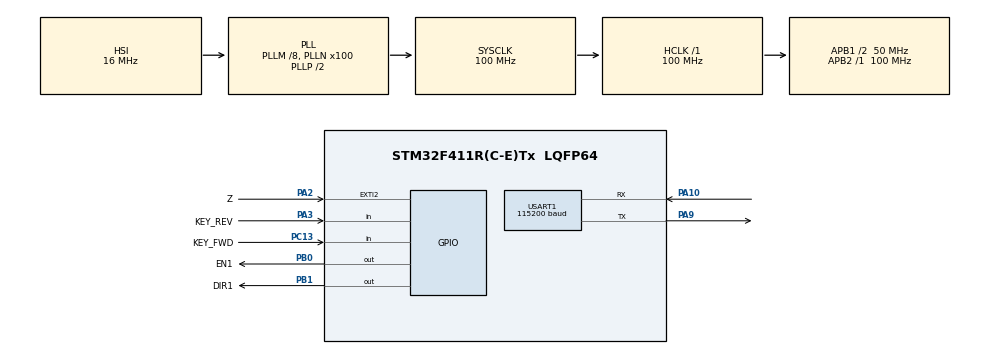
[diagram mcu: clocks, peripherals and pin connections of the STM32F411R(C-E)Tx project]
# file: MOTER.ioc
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Mcu.Family=STM32F4
Mcu.Name=STM32F411R(C-E)Tx
Mcu.Package=LQFP64
NVIC.EXTI2_IRQn=true\:5\:0\:false\:false\:true\:true\:false\:true
NVIC.PriorityGroup=NVIC_PRIORITYGROUP_4
NVIC.TIM1_UP_TIM10_IRQn=true\:1\:0\:false\:false\:true\:true\:false\:true
PA0-WKUP.Signal=TIM2_CH1
PA1.Signal=TIM2_CH2
PA10.Mode=Asynchronous
PA10.Signal=USART1_RX
PA2.GPIO_Label=Z
PA2.GPIO_PuPd=GPIO_PULLUP
PA2.Signal=GPIO_EXTI2
PA3.GPIO_Label=KEY_REV
PA3.GPIO_PuPd=GPIO_PULLUP
PA3.Signal=GPIO_Input
PA8.Signal=TIM1_CH1
PA9.Mode=Asynchronous
PA9.Signal=USART1_TX
PB0.GPIO_Label=EN1
PB0.GPIO_PuPd=GPIO_NOPULL
PB0.PinState=GPIO_PIN_SET
PB0.Signal=GPIO_Output
PB1.GPIO_Label=DIR1
PB1.GPIO_PuPd=GPIO_NOPULL
PB1.PinState=GPIO_PIN_RESET
PB1.Signal=GPIO_Output
PB6.Signal=TIM4_CH1
PC13.GPIO_Label=KEY_FWD
PC13.GPIO_PuPd=GPIO_PULLUP
PC13.Signal=GPIO_Input
ProjectManager.HeapSize=0x200
ProjectManager.StackSize=0x400
ProjectManager.TargetToolchain=MDK-ARM V5.32
RCC.48MHZClocksFreq_Value=50000000
RCC.AHBFreq_Value=100000000
RCC.APB1CLKDivider=RCC_HCLK_DIV2
RCC.APB1Freq_Value=50000000
RCC.APB1TimFreq_Value=100000000
RCC.APB2Freq_Value=100000000
RCC.APB2TimFreq_Value=100000000
RCC.CortexFreq_Value=100000000
RCC.HCLKFreq_Value=100000000
RCC.HSE_VALUE=25000000
RCC.HSI_VALUE=16000000
RCC.LSE_VALUE=32768
RCC.PLLM=8
RCC.PLLN=100
RCC.SYSCLKFreq_VALUE=100000000
RCC.SYSCLKSource=RCC_SYSCLKSOURCE_PLLCLK
RCC.VCOOutputFreq_Value=200000000
TIM1.AutoReloadPreload=TIM_AUTORELOAD_PRELOAD_ENABLE
TIM1.Channel-PWM\ Generation1\ CH1=TIM_CHANNEL_1
TIM1.Period=999
TIM1.Prescaler=99
TIM1.Pulse-PWM\ Generation1\ CH1=10
TIM2.EncoderMode=TIM_ENCODERMODE_TI12
TIM2.IC1Filter=10
TIM2.IC2Filter=10
TIM2.Period=4294967295
TIM4.AutoReloadPreload=TIM_AUTORELOAD_PRELOAD_ENABLE
TIM4.Channel-PWM\ Generation1\ CH1=TIM_CHANNEL_1
TIM4.Period=99
TIM4.Prescaler=99
TIM4.Pulse-PWM\ Generation1\ CH1=0
USART1.BaudRate=115200
USART1.VirtualMode-Asynchronous=VM_ASYNC
board=custom

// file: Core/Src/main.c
/* USER CODE BEGIN Header */
/**
  ******************************************************************************
  * @file           : main.c
  * @brief          : Main program body
  ******************************************************************************
  * @attention
  *
  * Copyright (c) 2026 STMicroelectronics.
  * All rights reserved.
  *
  * This software is licensed under terms that can be found in the LICENSE file
  * in the root directory of this software component.
  * If no LICENSE file comes with this software, it is provided AS-IS.
  *
  ******************************************************************************
  */
/* USER CODE END Header */
#include "main.h"

/* USER CODE BEGIN Includes */
#include <stdio.h>
#include <stdlib.h>
#include <string.h>
#include <stdarg.h>
#include "stepper.h"
#include "key.h"
#include "ball_ctrl.h"
#include "selftest.h"          /* 开环参数辨识（BALL_SELFTEST_ENABLE=0 时为空） */
/* 编码器已退役（PA0 让给 KEY1），不再 include/调用 encoder 模块 */
/* USER CODE END Includes */

TIM_HandleTypeDef htim1;
TIM_HandleTypeDef htim2;
TIM_HandleTypeDef htim4;

UART_HandleTypeDef huart1;

/* USER CODE BEGIN PV */
#define USE_DEBUG_UART   1     /* 不用串口就改成 0 */
#define USE_DEBUG_UART6  1     /* 板载调试口在 PC6/PC7(USART6) 时置 1 */

/* 第二路调试串口：实际板子的调试口接在 PC6/PC7（USART6，AF8），
 * 而 USART1 的 PA9/PA10 是与 MaixCam + 车主控的协议链路。
 *
 * 调试口既发日志也收命令：收到的字节注入 ball_ctrl 的解析环形缓冲，
 * 这样台架调试时直接从这个口发 M/Z/R 命令即可，不用挪线到 PA10。 */
UART_HandleTypeDef huart6;
uint8_t            dbg_rx_byte;   /* USART6 单字节中断接收缓冲 */

/* ==================== H题 要求4：行驶稳球任务 ====================
 * 小车置于 A 点、钢球置于中心 O，按键启动后沿黑线顺时针行驶通过 B
 * （AB 时间 <= 8s 由车主控负责），行驶全程摆杆把球稳定在中心 O，
 * 误差绝对值 <= 1cm（本工程负责摆杆这一半）。
 *
 * 控制方案（移植自 MSPM0 成熟参考工程 ball_balance）：滑模 PD
 *   + 回零偏学习 + 静摩擦脱困脉冲 + 车体加速度前馈，
 *   丢球保持 600ms 后限速回平（不退出任务，球回视野自动继续）
 *   W1 减速告警 / W2 回平停车告警
 *
 *  唯一按键 PA0：短按 = 启动稳球闭环；运行中长按 1 秒 = 停止回平
 *  USART1 RX   收视觉模块 B 帧（球位置/速度/置信度）和车主控 A 帧
 *  USART1 TX   调试打印 + 给车主控的 W 告警帧（可选监听）
 */
typedef enum {
    MISSION_IDLE = 0,       /* 等待按键启动，摆杆保持在水平零位 */
    MISSION_RUN           /* 要求4进行中：稳球闭环工作 */
} mission_t;

static mission_t s_mission = MISSION_IDLE;

static uint32_t s_last_tick = 0;    /* 1ms 任务节拍（按键扫描 + 电机斜坡） */
static uint32_t s_last_ctrl = 0;    /* 10ms 任务节拍（稳球控制律 + 帧解析） */
static uint32_t s_last_log  = 0;    /* 500ms 遥测节拍 */

/* 唯一按键 PA0 的按下/松开计时（长按判定用） */
static uint32_t s_key_down_tick = 0;
static uint8_t  s_key_holding   = 0;

static uint32_t s_last_hb = 0;      /* 1s 待机心跳节拍 */

/* 按键确认"点头"：短按启动前摆杆抬 3° 再回平，肉眼可见 = 按键/使能/脉冲链路全通。
 * 没接 MaixCam 时闭环本身不推动摆杆（无球数据只保持水平），
 * 如果没有这个动作，台架上"按了没反应"其实可能就是正常现象——用它一按便知。 */
typedef enum {
    ACK_NONE = 0,       /* 无动作 */
    ACK_UP,             /* 抬起 3° 进行中 */
    ACK_BACK            /* 回平进行中 */
} ack_state_t;
static ack_state_t s_ack = ACK_NONE;
static uint8_t     s_start_after_ack = 0;   /* 点头完成后要启动稳球闭环 */

/* 上电自检：上电 1 秒后摆杆自动点头一次（不需要按键），用来把
 * "脉冲链路不通"和"按键信号没进来"两种故障区分开——保持力矩只证明
 * 使能有效，不证明 STEP 脉冲有效，必须亲眼看摆杆动一次才算数。 */
static uint32_t s_boot_tick     = 0;        /* 自检点头的时间基准 */
static uint8_t  s_boot_nod_done = 0;        /* 自检只做一次 */
static int32_t  s_ack_steps     = 0;        /* 当前点头步数：启动确认 3°，运行/退出示意 2° */
static uint8_t  s_exit_nod_req  = 0;        /* 任务退出（超时/长按）后要点头示意一次 */
/* USER CODE END PV */

void SystemClock_Config(void);
static void MX_GPIO_Init(void);
static void MX_TIM1_Init(void);
static void MX_TIM2_Init(void);
static void MX_TIM4_Init(void);
static void MX_USART1_UART_Init(void);

/* USER CODE BEGIN PFP */
static void dbg_printf(const char *fmt, ...);

/* 定点数格式化：把 x10 或 mdeg 拆成「符号 + 整数 + 小数」。
 * 旧写法 `(long)(v / 10), (long)labs(v % 10)` 在 |v| < 10 时
 * 整数部分取整为 0，符号就丢了（x=-0.5 会打印成 "+0.5"，
 * cmd=-0.333 会打印成 "+0.333"），调试时会被彻底误导。 */
static void fmt_x10(char *out, size_t n, int32_t v)
{
    int32_t neg = (v < 0) ? 1 : 0;
    int32_t a   = neg ? -v : v;
    (void)snprintf(out, n, "%s%ld.%01ld", neg ? "-" : "+",
                   (long)(a / 10), (long)(a % 10));
}

static void fmt_mdeg(char *out, size_t n, int32_t v)
{
    int32_t neg = (v < 0) ? 1 : 0;
    int32_t a   = neg ? -v : v;
    (void)snprintf(out, n, "%s%ld.%03ld", neg ? "-" : "+",
                   (long)(a / 1000), (long)(a % 1000));
}
/* USER CODE END PFP */

/* USER CODE BEGIN 0 */
static void dbg_printf(const char *fmt, ...)
{
#if USE_DEBUG_UART
    char    buf[160];
    int     n;
    va_list ap;

    va_start(ap, fmt);
    n = vsnprintf(buf, sizeof(buf), fmt, ap);
    va_end(ap);

    if (n > 0) {
        if (n > (int)sizeof(buf) - 1) n = (int)sizeof(buf) - 1;
#if USE_DEBUG_UART6
        /* 调试日志只走 PC6/PC7（USART6）。
         * PA9/PA10 是与 MaixCam + 主控的协议链路，绝不能混入 ASCII 调试文本，
         * 否则会污染 12 字节二进制帧。协议帧（W1/W0/W2）由 ball_ctrl 单独发。 */
        HAL_UART_Transmit(&huart6, (uint8_t *)buf, (uint16_t)n, 100);
#else
        HAL_UART_Transmit(&huart1, (uint8_t *)buf, (uint16_t)n, 100);
#endif
    }
#else
    (void)fmt;
#endif
}

#if USE_DEBUG_UART6
/* 板载调试口在 PC6/PC7 = USART6_TX/RX（AF8）。
 * 手动配 GPIO+时钟，再交给 HAL_UART_Init；MspInit 是弱函数，为空即可。 */
static void dbg_uart6_init(void)
{
    GPIO_InitTypeDef gpio = {0};

    __HAL_RCC_GPIOC_CLK_ENABLE();
    __HAL_RCC_USART6_CLK_ENABLE();

    gpio.Pin       = GPIO_PIN_6 | GPIO_PIN_7;
    gpio.Mode      = GPIO_MODE_AF_PP;
    gpio.Pull      = GPIO_PULLUP;
    gpio.Speed     = GPIO_SPEED_FREQ_VERY_HIGH;
    gpio.Alternate = GPIO_AF8_USART6;
    HAL_GPIO_Init(GPIOC, &gpio);

    huart6.Instance          = USART6;
    huart6.Init.BaudRate     = 115200;
    huart6.Init.WordLength   = UART_WORDLENGTH_8B;
    huart6.Init.StopBits     = UART_STOPBITS_1;
    huart6.Init.Parity       = UART_PARITY_NONE;
    huart6.Init.Mode         = UART_MODE_TX_RX;
    huart6.Init.HwFlowCtl    = UART_HWCONTROL_NONE;
    huart6.Init.OverSampling = UART_OVERSAMPLING_16;
    (void)HAL_UART_Init(&huart6);

    /* 与 USART1 同优先级，开启接收中断，才能从调试口发命令 */
    HAL_NVIC_SetPriority(USART6_IRQn, 4, 0);
    HAL_NVIC_EnableIRQ(USART6_IRQn);
    (void)HAL_UART_Receive_IT(&huart6, &dbg_rx_byte, 1U);
}
#endif
/* USER CODE END 0 */

int main(void)
{

  /* MCU Configuration--------------------------------------------------------*/

  /* Reset of all peripherals, Initializes the Flash interface and the Systick. */
  HAL_Init();

  /* Configure the system clock */
  SystemClock_Config();

  /* Initialize all configured peripherals */
  MX_GPIO_Init();
  MX_TIM1_Init();
  MX_TIM2_Init();
  MX_TIM4_Init();
  MX_USART1_UART_Init();

  /* USER CODE BEGIN 2 */
#if USE_DEBUG_UART6
  dbg_uart6_init();                     /* 调试口 PC6/PC7，必须最先初始化 */
#endif
  stepper_init();
  key_init();
  ball_ctrl_init();                     /* 含挂起 USART1 接收（摄像头/车主控数据） */

  /* KEY1 已从 PC13 挪到 PA0（原编码器 A 相）。
   * MX_TIM2_Init 的编码器 MspInit 会把 PA0/PA1 配成 TIM2 复用，
   * 这里在所有 MX 初始化之后把 PA0 改回"输入上拉"按键，保证按键可靠；
   * TIM2 编码器不再 Start（encoder_init 已移除），计数器闲置无影响。 */
  {
      GPIO_InitTypeDef key_gpio = {0};
      key_gpio.Pin  = KEY_FWD_Pin;
      key_gpio.Mode = GPIO_MODE_INPUT;
      key_gpio.Pull = GPIO_PULLUP;
      key_gpio.Speed = GPIO_SPEED_FREQ_LOW;
      HAL_GPIO_Init(KEY_FWD_GPIO_Port, &key_gpio);
  }

  /* USART1 接收中断：视觉模块 B 帧 / 车主控 A 帧从这里进来 */
  HAL_NVIC_SetPriority(USART1_IRQn, 4, 0);
  HAL_NVIC_EnableIRQ(USART1_IRQn);

  stepper_set_run_speed(STEPPER_SERVO_SPEED);   /* 稳球微动速度 */
  stepper_enable(1);                    /* 使能驱动器，电机上电保持力矩 */

  dbg_printf("\r\n============================================\r\n");
  dbg_printf("[STEPPER] MOTER / STM32F411RET6 ready\r\n");
  dbg_printf("[TASK ] H题 要求4：滑模PD+前馈 行驶稳球（误差<=1cm）\r\n");
  dbg_printf("[KEY  ] PA0 唯一按键：短按 = 启动（先点头3°确认）\r\n");
  dbg_printf("        运行中短按 = 点头2°示意在跑 | 长按1秒 = 停止回平\r\n");
  dbg_printf("        任务结束（超时/停止）后自动小点头示意\r\n");
  dbg_printf("[UART1] 115200 8N1  RX = MaixCam 二进制帧(0xAA55,12B,CRC16)\r\n");
  dbg_printf("        接线: MaixCam A19(TX) -> PA10(RX)；帧含 0.1mm位置/\r\n");
  dbg_printf("        mm/s速度/置信度/标志位，50Hz 恒发\r\n");
  dbg_printf("        车主控 A,<mm/s2> 帧共线（串1k电阻）或台架单用\r\n");
  dbg_printf("        M,<mdeg>手动摆角 Z,水平清零 R,<x0.1mm>球目标(要求6)\r\n");
  dbg_printf("        TX告警帧: W1丢球减速 W0恢复 W2超时停车\r\n");
  dbg_printf("[TIP  ] 上电前先目视调平摆杆：上电位置=水平零位\r\n");
  dbg_printf("        也可运行中发 Z 重新定义零位\r\n");
  dbg_printf("[TEST ] 上电1秒摆杆自动点头 = 脉冲链路自检\r\n");
  dbg_printf("        再短按PA0有第二次点头 = 按键也正常\r\n");
  dbg_printf("============================================\r\n");

  s_last_tick = HAL_GetTick();
  s_last_ctrl = s_last_tick;
  s_last_log  = s_last_tick;
  s_boot_tick = s_last_tick;

  /* 自检放在横幅之后：横幅出来了说明固件已跑起来，
   * 再看下面有没有 SELFTEST START，就能区分「固件没跑」和「自检起不来」 */
#if BALL_SELFTEST_ENABLE
  selftest_init();                      /* 开环参数辨识：上电自动跑三段实验 */
#endif
  /* USER CODE END 2 */

  /* Infinite loop */
  /* USER CODE BEGIN WHILE */
  while (1)
  {
    uint32_t now = HAL_GetTick();

    /* ---------------- 1ms 任务：按键扫描 + 电机速度斜坡 ---------------- */
    if ((uint32_t)(now - s_last_tick) >= 1U) {
        s_last_tick = now;
        key_scan();
        stepper_tick_1ms();

#if BALL_SELFTEST_ENABLE
        selftest_poll();              /* 开环参数辨识状态机（非阻塞） */
#endif

        /* 按键点头状态机：抬起到位 -> 回平 -> （按按键意图）启动闭环 */
        if (s_ack == ACK_UP && !stepper_is_busy()) {
            s_ack = ACK_BACK;
            stepper_servo_update(stepper_position() - s_ack_steps);
        } else if (s_ack == ACK_BACK && !stepper_is_busy()) {
            s_ack = ACK_NONE;
            stepper_set_run_speed(STEPPER_SERVO_SPEED);     /* 恢复稳球微动速度 */
            if (s_start_after_ack) {
                s_start_after_ack = 0;
                ball_ctrl_start();      /* 记录水平零位、清控制状态、开启闭环 */
                s_mission = MISSION_RUN;
                dbg_printf("[MISSION] 要求4 启动：稳球闭环开启\r\n");
                if (ball_ctrl_frame_count() == 0) {
                    dbg_printf("[MISSION] 提示：尚未收到 MaixCam 帧(fr=0)，"
                               "摆杆先保持水平，球回视野自动开始稳球\r\n");
                }
            }
        }

        /* 上电自检点头：1 秒后自动点一下，不按键也能验证"使能+脉冲链路"。
         * 必须放在点头状态机之后：刚排队动作时 busy 仍为 0（脉冲要到下一
         * tick 才起步），放前面会被同一 tick 误判成"抬到位"直接翻到回平。 */
        if (!s_boot_nod_done && s_mission == MISSION_IDLE && s_ack == ACK_NONE &&
            (uint32_t)(now - s_boot_tick) >= 1000U && !stepper_is_busy()) {
            s_boot_nod_done = 1;
            s_ack_steps = STEPPER_ACK_STEPS;
            s_ack = ACK_UP;             /* s_start_after_ack 保持 0：点完头不启动 */
            stepper_set_run_speed(STEPPER_ACK_SPS);
            stepper_servo_update(stepper_position() + s_ack_steps);
            dbg_printf("[SELFTEST] 摆杆点头自检：能动 = 使能+脉冲链路正常\r\n");
        }

        /* 任务退出示意：长按停止 之后小点头一次，
         * 让"运行中 -> 空闲"的状态切换肉眼可见（stop_level 的回平动作走完才触发）
         * （丢球不再退出任务，只回平待球，所以点头只在手动停止时出现） */
        if (s_exit_nod_req && s_mission == MISSION_IDLE && s_ack == ACK_NONE &&
            !stepper_is_busy()) {
            s_exit_nod_req = 0;
            s_ack_steps = STEPPER_ACK_RUN_STEPS;
            s_ack = ACK_UP;             /* s_start_after_ack 保持 0 */
            stepper_set_run_speed(STEPPER_ACK_SPS);
            stepper_servo_update(stepper_position() + s_ack_steps);
            dbg_printf("[MISSION] 已退出任务（点头示意，短按可重新启动）\r\n");
        }
    }

    /* ---------------- 10ms 任务：要求4 稳球控制律 ---------------- */
    if ((uint32_t)(now - s_last_ctrl) >= 10U) {
        s_last_ctrl = now;
        ball_ctrl_uart_poll();      /* 解析 B/A/M/Z 帧 */
        ball_ctrl_tick_10ms();      /* 滑模PD + 偏置/脉冲/前馈 -> 步进伺服微动 */
    }

    /* ---------------- 故障转移（保留）：参考设计丢球不退出任务，
     * ball_ctrl_fault() 恒 0，此块正常不会触发，留作兜底 ---------- */
    if (s_mission == MISSION_RUN && ball_ctrl_fault()) {
        s_mission = MISSION_IDLE;
        s_exit_nod_req = 1;             /* 回平完成后点头示意"已退出" */
        dbg_printf("[MISSION] 丢球超时：已回平退出任务（W2 已发，建议车主控停车）\r\n");
    }

    /* ---------------- 按键任务：PA0 短按启动 / 长按1秒停止 ---------------- */
    if (key1_clicked()) {                          /* 按下瞬间：记录起点 */
        s_key_down_tick = now;
        s_key_holding   = 1;
    }
    if (s_key_holding && key1_released()) {        /* 松手：按住时长判定意图 */
        uint32_t held = now - s_key_down_tick;

        s_key_holding = 0;

        if (s_mission == MISSION_IDLE) {
            /* 空闲：短按/长按都 = 先点头确认，再启动闭环 */
            if (stepper_is_busy() || s_ack != ACK_NONE) {
                dbg_printf("[MISSION] 电机未停稳，稍后再按\r\n");
            } else {
                s_start_after_ack = 1;
                s_ack_steps = STEPPER_ACK_STEPS;
                s_ack = ACK_UP;
                stepper_set_run_speed(STEPPER_ACK_SPS);
                stepper_servo_update(stepper_position() + s_ack_steps);
                dbg_printf("[MISSION] 按键确认：摆杆点头...\r\n");
            }
        } else if (held >= KEY_LONG_MS) {
            /* 运行中长按：停止回平（短按只示意，防比赛误触停机） */
            ball_ctrl_stop_level();
            s_mission = MISSION_IDLE;
            s_exit_nod_req = 1;         /* 回平完成后点头示意"已退出" */
            dbg_printf("[MISSION] 停止：摆杆回平\r\n");
        } else if (s_ack == ACK_NONE && !stepper_is_busy()) {
            /* 运行中短按：点头 2° 示意"任务在跑"——没有它，运行态和空闲态
             * 肉眼无法区分，会被当成"按了没反应"（比赛时不要按，会轻微扰动球） */
            s_ack_steps = STEPPER_ACK_RUN_STEPS;
            s_ack = ACK_UP;             /* s_start_after_ack 保持 0 */
            stepper_set_run_speed(STEPPER_ACK_SPS);
            stepper_servo_update(stepper_position() + s_ack_steps);
            dbg_printf("[MISSION] 运行中：点头示意（长按1秒停止）\r\n");
        } else {
            dbg_printf("[MISSION] 运行中：长按1秒停止\r\n");
        }
    }

    /* ---------------- 500ms 遥测（运行时打印控制各项，方便现场整定） ------- */
    if ((uint32_t)(now - s_last_log) >= 500U) {
        s_last_log = now;

        if (s_mission == MISSION_RUN) {
            int32_t b  = ball_ctrl_ball_01mm();
            int32_t v  = ball_ctrl_vel_mms();
            int32_t rf = ball_ctrl_xref_01mm();
            int32_t t  = ball_ctrl_angle_mdeg();
            int32_t fb = ball_ctrl_fb_mdeg();
            int32_t ff = ball_ctrl_ff_mdeg();
            int32_t a  = ball_ctrl_accel();
            uint8_t c  = ball_ctrl_conf();
            char sx[16], sref[16], scmd[16];

            fmt_x10(sx, sizeof(sx), b);
            fmt_x10(sref, sizeof(sref), rf);
            fmt_mdeg(scmd, sizeof(scmd), t);

            dbg_printf("[RUN] x=%s v=%+ldmm/s c=%d ref=%s | "
                       "fb=%+ld ff=%+ld cmd=%sdeg acc=%+ld "
                       "sat=%d ok=%d cal=%d fr=%lu ce=%lu pos=%ld\r\n",
                       sx,
                       (long)v, (int)c,
                       sref,
                       (long)fb, (long)ff,
                       scmd,
                       (long)a,
                       (int)ball_ctrl_sat(),
                       (int)ball_ctrl_ball_ok(),
                       (int)ball_ctrl_vision_cal(),
                       (unsigned long)ball_ctrl_frame_count(),
                       (unsigned long)ball_ctrl_crc_err(),
                       (long)stepper_position());
        }
    }

    /* ---------------- 1s 待机心跳（排查"没力矩/按键没反应"用） ------------- */
    /* en_pin  : PB0 实际电平，1=固件已使能驱动器（若仍无力矩查驱动器侧）
     * key_raw : PA0 原始电平，1=未按(上拉高) 0=按下接地 —— 按键不动它说明接法有问题
     * key     : 消抖后的按键状态；fr/ce : 视觉帧计数（接了 MaixCam 才会涨）   */
    if ((uint32_t)(now - s_last_hb) >= 1000U) {
        s_last_hb = now;

        if (s_mission == MISSION_IDLE) {
            dbg_printf("[IDLE] en_pin=%d key_raw=%d key=%d busy=%d fr=%lu ce=%lu\r\n",
                       (int)HAL_GPIO_ReadPin(EN1_GPIO_Port, EN1_Pin),
                       (int)HAL_GPIO_ReadPin(KEY_FWD_GPIO_Port, KEY_FWD_Pin),
                       (int)key1_pressed(),
                       (int)stepper_is_busy(),
                       (unsigned long)ball_ctrl_frame_count(),
                       (unsigned long)ball_ctrl_crc_err());
        }
    }
    /* USER CODE END WHILE */

  }
}

void SystemClock_Config(void)
{
  RCC_OscInitTypeDef RCC_OscInitStruct = {0};
  RCC_ClkInitTypeDef RCC_ClkInitStruct = {0};

  /** Configure the main internal regulator output voltage
  */
  __HAL_RCC_PWR_CLK_ENABLE();
  __HAL_PWR_VOLTAGESCALING_CONFIG(PWR_REGULATOR_VOLTAGE_SCALE1);

  /** Initializes the RCC Oscillators according to the specified parameters
  * in the RCC_OscInitTypeDef structure.
  */
  RCC_OscInitStruct.OscillatorType = RCC_OSCILLATORTYPE_HSI;
  RCC_OscInitStruct.HSIState = RCC_HSI_ON;
  RCC_OscInitStruct.HSICalibrationValue = RCC_HSICALIBRATION_DEFAULT;
  RCC_OscInitStruct.PLL.PLLState = RCC_PLL_ON;
  RCC_OscInitStruct.PLL.PLLSource = RCC_PLLSOURCE_HSI;
  RCC_OscInitStruct.PLL.PLLM = 8;
  RCC_OscInitStruct.PLL.PLLN = 100;
  RCC_OscInitStruct.PLL.PLLP = RCC_PLLP_DIV2;
  RCC_OscInitStruct.PLL.PLLQ = 4;
  if (HAL_RCC_OscConfig(&RCC_OscInitStruct) != HAL_OK)
  {
    Error_Handler();
  }

  /** Initializes the CPU, AHB and APB buses clocks
  */
  RCC_ClkInitStruct.ClockType = RCC_CLOCKTYPE_HCLK|RCC_CLOCKTYPE_SYSCLK
                              |RCC_CLOCKTYPE_PCLK1|RCC_CLOCKTYPE_PCLK2;
  RCC_ClkInitStruct.SYSCLKSource = RCC_SYSCLKSOURCE_PLLCLK;
  RCC_ClkInitStruct.AHBCLKDivider = RCC_SYSCLK_DIV1;
  RCC_ClkInitStruct.APB1CLKDivider = RCC_HCLK_DIV2;
  RCC_ClkInitStruct.APB2CLKDivider = RCC_HCLK_DIV1;

  if (HAL_RCC_ClockConfig(&RCC_ClkInitStruct, FLASH_LATENCY_3) != HAL_OK)
  {
    Error_Handler();
  }
}

static void MX_TIM1_Init(void)
{

  TIM_ClockConfigTypeDef sClockSourceConfig = {0};
  TIM_MasterConfigTypeDef sMasterConfig = {0};
  TIM_OC_InitTypeDef sConfigOC = {0};
  TIM_BreakDeadTimeConfigTypeDef sBreakDeadTimeConfig = {0};

  htim1.Instance = TIM1;
  htim1.Init.Prescaler = 99;
  htim1.Init.CounterMode = TIM_COUNTERMODE_UP;
  htim1.Init.Period = 999;
  htim1.Init.ClockDivision = TIM_CLOCKDIVISION_DIV1;
  htim1.Init.RepetitionCounter = 0;
  htim1.Init.AutoReloadPreload = TIM_AUTORELOAD_PRELOAD_ENABLE;
  if (HAL_TIM_Base_Init(&htim1) != HAL_OK)
  {
    Error_Handler();
  }
  sClockSourceConfig.ClockSource = TIM_CLOCKSOURCE_INTERNAL;
  if (HAL_TIM_ConfigClockSource(&htim1, &sClockSourceConfig) != HAL_OK)
  {
    Error_Handler();
  }
  if (HAL_TIM_PWM_Init(&htim1) != HAL_OK)
  {
    Error_Handler();
  }
  sMasterConfig.MasterOutputTrigger = TIM_TRGO_RESET;
  sMasterConfig.MasterSlaveMode = TIM_MASTERSLAVEMODE_DISABLE;
  if (HAL_TIMEx_MasterConfigSynchronization(&htim1, &sMasterConfig) != HAL_OK)
  {
    Error_Handler();
  }
  sConfigOC.OCMode = TIM_OCMODE_PWM1;
  sConfigOC.Pulse = 10;
  sConfigOC.OCPolarity = TIM_OCPOLARITY_HIGH;
  sConfigOC.OCNPolarity = TIM_OCNPOLARITY_HIGH;
  sConfigOC.OCFastMode = TIM_OCFAST_DISABLE;
  sConfigOC.OCIdleState = TIM_OCIDLESTATE_RESET;
  sConfigOC.OCNIdleState = TIM_OCNIDLESTATE_RESET;
  if (HAL_TIM_PWM_ConfigChannel(&htim1, &sConfigOC, TIM_CHANNEL_1) != HAL_OK)
  {
    Error_Handler();
  }
  sBreakDeadTimeConfig.OffStateRunMode = TIM_OSSR_DISABLE;
  sBreakDeadTimeConfig.OffStateIDLEMode = TIM_OSSI_DISABLE;
  sBreakDeadTimeConfig.LockLevel = TIM_LOCKLEVEL_OFF;
  sBreakDeadTimeConfig.DeadTime = 0;
  sBreakDeadTimeConfig.BreakState = TIM_BREAK_DISABLE;
  sBreakDeadTimeConfig.BreakPolarity = TIM_BREAKPOLARITY_HIGH;
  sBreakDeadTimeConfig.BreakFilter = 0;
  sBreakDeadTimeConfig.AutomaticOutput = TIM_AUTOMATICOUTPUT_DISABLE;
  if (HAL_TIMEx_ConfigBreakDeadTime(&htim1, &sBreakDeadTimeConfig) != HAL_OK)
  {
    Error_Handler();
  }

}

static void MX_TIM2_Init(void)
{

  TIM_Encoder_InitTypeDef sConfig = {0};
  TIM_MasterConfigTypeDef sMasterConfig = {0};

  htim2.Instance = TIM2;
  htim2.Init.Prescaler = 0;
  htim2.Init.CounterMode = TIM_COUNTERMODE_UP;
  htim2.Init.Period = 4294967295;
  htim2.Init.ClockDivision = TIM_CLOCKDIVISION_DIV1;
  htim2.Init.AutoReloadPreload = TIM_AUTORELOAD_PRELOAD_DISABLE;
  sConfig.EncoderMode = TIM_ENCODERMODE_TI12;
  sConfig.IC1Polarity = TIM_ICPOLARITY_RISING;
  sConfig.IC1Selection = TIM_ICSELECTION_DIRECTTI;
  sConfig.IC1Prescaler = TIM_ICPSC_DIV1;
  sConfig.IC1Filter = 10;
  sConfig.IC2Polarity = TIM_ICPOLARITY_RISING;
  sConfig.IC2Selection = TIM_ICSELECTION_DIRECTTI;
  sConfig.IC2Prescaler = TIM_ICPSC_DIV1;
  sConfig.IC2Filter = 10;
  if (HAL_TIM_Encoder_Init(&htim2, &sConfig) != HAL_OK)
  {
    Error_Handler();
  }
  sMasterConfig.MasterOutputTrigger = TIM_TRGO_RESET;
  sMasterConfig.MasterSlaveMode = TIM_MASTERSLAVEMODE_DISABLE;
  if (HAL_TIMEx_MasterConfigSynchronization(&htim2, &sMasterConfig) != HAL_OK)
  {
    Error_Handler();
  }

}

static void MX_TIM4_Init(void)
{

  TIM_ClockConfigTypeDef sClockSourceConfig = {0};
  TIM_MasterConfigTypeDef sMasterConfig = {0};
  TIM_OC_InitTypeDef sConfigOC = {0};

  htim4.Instance = TIM4;
  htim4.Init.Prescaler = 99;
  htim4.Init.CounterMode = TIM_COUNTERMODE_UP;
  htim4.Init.Period = 99;
  htim4.Init.ClockDivision = TIM_CLOCKDIVISION_DIV1;
  htim4.Init.AutoReloadPreload = TIM_AUTORELOAD_PRELOAD_ENABLE;
  if (HAL_TIM_Base_Init(&htim4) != HAL_OK)
  {
    Error_Handler();
  }
  sClockSourceConfig.ClockSource = TIM_CLOCKSOURCE_INTERNAL;
  if (HAL_TIM_ConfigClockSource(&htim4, &sClockSourceConfig) != HAL_OK)
  {
    Error_Handler();
  }
  if (HAL_TIM_PWM_Init(&htim4) != HAL_OK)
  {
    Error_Handler();
  }
  sMasterConfig.MasterOutputTrigger = TIM_TRGO_RESET;
  sMasterConfig.MasterSlaveMode = TIM_MASTERSLAVEMODE_DISABLE;
  if (HAL_TIMEx_MasterConfigSynchronization(&htim4, &sMasterConfig) != HAL_OK)
  {
    Error_Handler();
  }
  sConfigOC.OCMode = TIM_OCMODE_PWM1;
  sConfigOC.Pulse = 0;
  sConfigOC.OCPolarity = TIM_OCPOLARITY_HIGH;
  sConfigOC.OCFastMode = TIM_OCFAST_DISABLE;
  if (HAL_TIM_PWM_ConfigChannel(&htim4, &sConfigOC, TIM_CHANNEL_1) != HAL_OK)
  {
    Error_Handler();
  }

}

static void MX_USART1_UART_Init(void)
{

  huart1.Instance = USART1;
  huart1.Init.BaudRate = 115200;
  huart1.Init.WordLength = UART_WORDLENGTH_8B;
  huart1.Init.StopBits = UART_STOPBITS_1;
  huart1.Init.Parity = UART_PARITY_NONE;
  huart1.Init.Mode = UART_MODE_TX_RX;
  huart1.Init.HwFlowCtl = UART_HWCONTROL_NONE;
  huart1.Init.OverSampling = UART_OVERSAMPLING_16;
  if (HAL_UART_Init(&huart1) != HAL_OK)
  {
    Error_Handler();
  }

}

static void MX_GPIO_Init(void)
{
  GPIO_InitTypeDef GPIO_InitStruct = {0};

  /* GPIO Ports Clock Enable */
  __HAL_RCC_GPIOA_CLK_ENABLE();
  __HAL_RCC_GPIOB_CLK_ENABLE();
  __HAL_RCC_GPIOC_CLK_ENABLE();

  /*Configure GPIO pin Output Level */
  HAL_GPIO_WritePin(EN1_GPIO_Port, EN1_Pin, GPIO_PIN_SET);
  HAL_GPIO_WritePin(DIR1_GPIO_Port, DIR1_Pin, GPIO_PIN_RESET);

  /*Configure GPIO pins : EN1_Pin DIR1_Pin */
  GPIO_InitStruct.Pin = EN1_Pin|DIR1_Pin;
  GPIO_InitStruct.Mode = GPIO_MODE_OUTPUT_PP;
  GPIO_InitStruct.Pull = GPIO_NOPULL;
  GPIO_InitStruct.Speed = GPIO_SPEED_FREQ_HIGH;
  HAL_GPIO_Init(GPIOB, &GPIO_InitStruct);

  /*Configure GPIO pin : Z_Pin */
  GPIO_InitStruct.Pin = Z_Pin;
  GPIO_InitStruct.Mode = GPIO_MODE_IT_FALLING;
  GPIO_InitStruct.Pull = GPIO_PULLUP;
  HAL_GPIO_Init(Z_GPIO_Port, &GPIO_InitStruct);

  /*Configure GPIO pin : KEY_FWD_Pin (PA0, 唯一按键：短按启动/长按停止) */
  GPIO_InitStruct.Pin = KEY_FWD_Pin;
  GPIO_InitStruct.Mode = GPIO_MODE_INPUT;
  GPIO_InitStruct.Pull = GPIO_PULLUP;
  HAL_GPIO_Init(KEY_FWD_GPIO_Port, &GPIO_InitStruct);

  /* EXTI interrupt init*/
  HAL_NVIC_SetPriority(EXTI2_IRQn, 5, 0);
  HAL_NVIC_EnableIRQ(EXTI2_IRQn);

}

void Error_Handler(void)
{
  __disable_irq();
  while (1)
  {
  }
}
